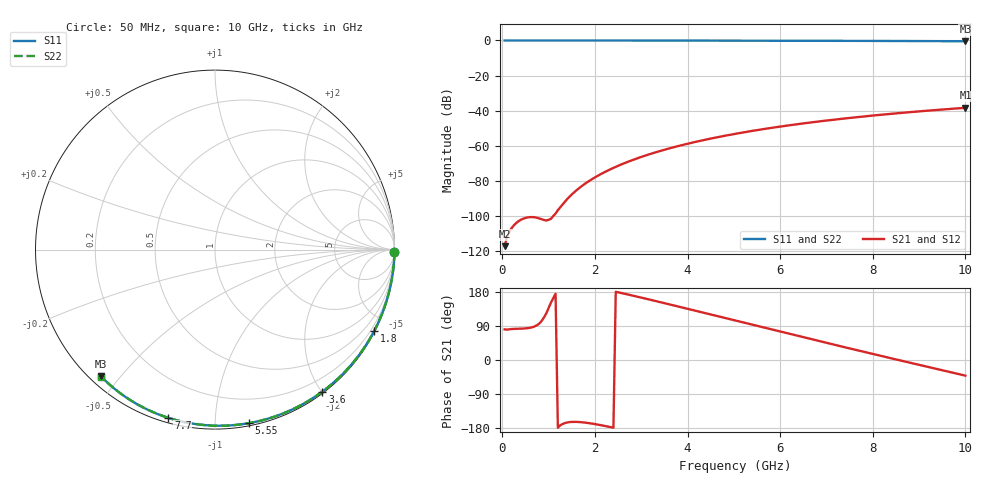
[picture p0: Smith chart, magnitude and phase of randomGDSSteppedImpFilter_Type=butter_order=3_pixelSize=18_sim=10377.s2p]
! freq	dB(S11)	phase(S11)	dB(S12)	phase(S12)
!  dB(S21)	phase(S21)	dB(S22)	phase(S22)
!S-par simulation data
#  GHz  S  DB  R 50
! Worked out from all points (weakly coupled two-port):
!   200 points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, 50 MHz to 10 GHz, reference 50 ohm
!   highest |S21| = -38.34 dB at 10 GHz (marker M1); lowest = -117.1 dB at 50 MHz (marker M2)
!   lowest |S11| = -0.4 dB at 10 GHz (marker M3), VSWR 39.01, Z = 1.54 - j22.3 ohm
!   |S11| at or under -10 dB: nowhere
!   |S22| runs from -0.4 to 0.0 dB; largest |S21 - S12| = 0
!   S11 on the Smith chart (normalised r, x): 50 MHz: open; 1.8 GHz: 0.04, -4.16; 3.6 GHz: 0.02, -2.01; 5.55 GHz: 0.02, -1.21; 7.7 GHz: 0.02, -0.76; 10 GHz: 0.03, -0.45
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0.05  -0.00 -0.8  -117.11 80.8  -117.11 80.8  -0.00 -0.8
0.9  -0.02 -13.7  -102.22 112.5  -102.22 112.5  -0.02 -13.7
1.75  -0.03 -26.3  -82.24 -164.7  -82.24 -164.7  -0.03 -26.3
1.8  -0.03 -27.1  -81.31 -165.4  -81.31 -165.4  -0.03 -27.1
1.85  -0.04 -27.8  -80.42 -166.2  -80.42 -166.2  -0.04 -27.8
1.9  -0.04 -28.5  -79.57 -167.1  -79.57 -167.1  -0.04 -28.5
2.05  -0.04 -30.7  -77.20 -170.2  -77.20 -170.2  -0.04 -30.7
2.25  -0.04 -33.7  -74.41 -174.9  -74.41 -174.9  -0.04 -33.6
2.45  -0.05 -36.6  -71.94 180.0  -71.94 180.0  -0.05 -36.6
2.65  -0.05 -39.5  -69.72 174.6  -69.72 174.6  -0.05 -39.4
3  -0.06 -44.5  -66.32 164.7  -66.32 164.7  -0.06 -44.5
3.4  -0.07 -50.1  -62.98 153.0  -62.98 153.0  -0.07 -50.1
3.6  -0.07 -52.9  -61.49 147.1  -61.49 147.1  -0.07 -52.9
4.3  -0.09 -62.5  -56.99 126.1  -56.99 126.1  -0.09 -62.5
5.05  -0.11 -72.5  -53.06 103.5  -53.06 103.5  -0.11 -72.5
5.55  -0.13 -79.0  -50.83 88.5  -50.83 88.5  -0.13 -79.0
6.1  -0.15 -86.0  -48.65 72.0  -48.65 72.0  -0.15 -86.0
6.7  -0.18 -93.4  -46.55 54.1  -46.55 54.1  -0.18 -93.4
7.7  -0.24 -105.5  -43.55 24.7  -43.55 24.7  -0.24 -105.5
8.35  -0.29 -113.1  -41.87 5.9  -41.87 5.9  -0.29 -113.1
9.15  -0.36 -122.3  -40.05 -17.1  -40.05 -17.1  -0.36 -122.3
10  -0.45 -131.9  -38.34 -41.3  -38.34 -41.3  -0.45 -131.9
